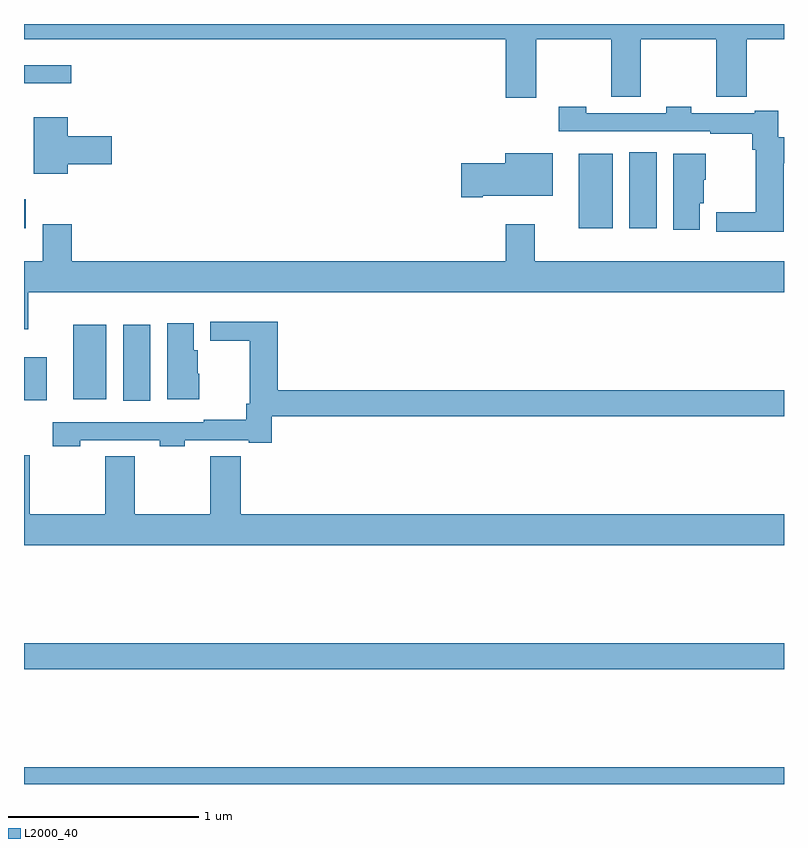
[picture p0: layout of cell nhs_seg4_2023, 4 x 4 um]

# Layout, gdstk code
import gdstk
lib = gdstk.Library(unit=1e-6, precision=1e-09)
def R(c, l, rs):  # rectangles x0, y0, x1, y1
    for r in rs: c.add(gdstk.rectangle(r[:2], r[2:], *l))
def P(c, l, *ps):  # polygons
    for p in ps: c.add(gdstk.Polygon(p, *l))
L2000_40 = (2000, 40)

nhs_seg4_2023 = lib.new_cell('nhs_seg4_2023')
R(nhs_seg4_2023, L2000_40, [(215,792.9,219,792.988), (215,793.504,219,793.64), (215.522,794.916,215.665,795.316), (215,794.921,215.119,795.145), (215.258,794.924,215.434,795.316), (215,795.824,215.008,795.978), (217.919,795.824,218.098,796.216), (218.186,795.824,218.329,796.225), (215,796.587,215.248,796.684)])
P(nhs_seg4_2023, L2000_40, [(217.695,796.82),(218.092,796.82),(218.092,796.516),(218.246,796.516),(218.246,796.82),(218.644,796.82),(218.644,796.516),(218.804,796.516),(218.804,796.82),(219,796.82),(219,796.9),(215,796.9),(215,796.82),(217.535,796.82),(217.535,796.512),(217.695,796.512)],
  [(218.999,796.168),(219,796.168),(219,796.304),(218.969,796.304),(218.969,796.444),(218.846,796.444),(218.846,796.431),(218.511,796.431),(218.511,796.464),(218.379,796.464),(218.379,796.431),(217.959,796.431),(217.959,796.464),(217.815,796.464),(217.815,796.335),(218.611,796.335),(218.611,796.323),(218.833,796.323),(218.833,796.238),(218.852,796.238),(218.852,795.908),(218.643,795.908),(218.643,795.806),(218.999,795.806)],
  [(215.23,796.163),(215.461,796.163),(215.461,796.31),(215.23,796.31),(215.23,796.408),(215.051,796.408),(215.051,796.112),(215.23,796.112)],
  [(217.414,795.995),(217.783,795.995),(217.783,796.219),(217.532,796.219),(217.532,796.166),(217.302,796.166),(217.302,795.988),(217.414,795.988)],
  [(218.557,795.957),(218.578,795.957),(218.578,796.08),(218.587,796.08),(218.587,796.216),(218.417,796.216),(218.417,795.816),(218.557,795.816)],
  [(215.023,795.488),(219,795.488),(219,795.652),(217.687,795.652),(217.687,795.847),(217.535,795.847),(217.535,795.652),(215.252,795.652),(215.252,795.847),(215.099,795.847),(215.099,795.652),(215,795.652),(215,795.294),(215.023,795.294)],
  [(215.295,794.709),(215.715,794.709),(215.715,794.677),(215.847,794.677),(215.847,794.709),(216.182,794.709),(216.182,794.697),(216.305,794.697),(216.305,794.836),(219,794.836),(219,794.972),(216.335,794.972),(216.335,795.334),(215.979,795.334),(215.979,795.232),(216.188,795.232),(216.188,794.902),(216.169,794.902),(216.169,794.818),(215.947,794.818),(215.947,794.805),(215.151,794.805),(215.151,794.677),(215.295,794.677)],
  [(215.923,795.06),(215.914,795.06),(215.914,795.183),(215.893,795.183),(215.893,795.325),(215.753,795.325),(215.753,794.924),(215.923,794.924)],
  [(219,794.32),(216.14,794.32),(216.14,794.624),(215.98,794.624),(215.98,794.32),(215.582,794.32),(215.582,794.624),(215.428,794.624),(215.428,794.32),(215.031,794.32),(215.031,794.629),(215,794.629),(215,794.156),(219,794.156)])

lib.write_gds('nhs_seg4_2023.gds')
